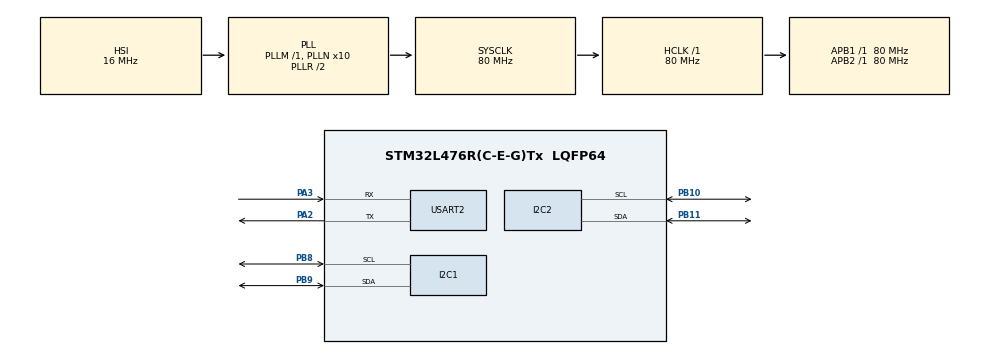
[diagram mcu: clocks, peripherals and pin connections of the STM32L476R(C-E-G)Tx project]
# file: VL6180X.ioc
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I2C1.Timing=0x10D19CE4
I2C2.Timing=0x10D19CE4
Mcu.Family=STM32L4
Mcu.Name=STM32L476R(C-E-G)Tx
Mcu.Package=LQFP64
NVIC.PriorityGroup=NVIC_PRIORITYGROUP_4
PA13\ (JTMS-SWDIO).Mode=Serial_Wire
PA13\ (JTMS-SWDIO).Signal=SYS_JTMS-SWDIO
PA14\ (JTCK-SWCLK).Mode=Serial_Wire
PA14\ (JTCK-SWCLK).Signal=SYS_JTCK-SWCLK
PA2.Mode=Asynchronous
PA2.Signal=USART2_TX
PA3.Mode=Asynchronous
PA3.Signal=USART2_RX
PB10.Mode=I2C
PB10.Signal=I2C2_SCL
PB11.Mode=I2C
PB11.Signal=I2C2_SDA
PB8.Mode=I2C
PB8.Signal=I2C1_SCL
PB9.Mode=I2C
PB9.Signal=I2C1_SDA
PH0-OSC_IN\ (PH0).Mode=HSE-External-Oscillator
PH0-OSC_IN\ (PH0).Signal=RCC_OSC_IN
PH1-OSC_OUT\ (PH1).Mode=HSE-External-Oscillator
PH1-OSC_OUT\ (PH1).Signal=RCC_OSC_OUT
ProjectManager.HeapSize=0x200
ProjectManager.StackSize=0x400
ProjectManager.TargetToolchain=STM32CubeIDE
RCC.ADCFreq_Value=64000000
RCC.AHBFreq_Value=80000000
RCC.APB1Freq_Value=80000000
RCC.APB1TimFreq_Value=80000000
RCC.APB2Freq_Value=80000000
RCC.APB2TimFreq_Value=80000000
RCC.CortexFreq_Value=80000000
RCC.HCLKFreq_Value=80000000
RCC.HSE_VALUE=8000000
RCC.HSI_VALUE=16000000
RCC.LSE_VALUE=32768
RCC.MSI_VALUE=4000000
RCC.PLLN=10
RCC.PLLSourceVirtual=RCC_PLLSOURCE_HSI
RCC.PREFETCH_ENABLE=1
RCC.SYSCLKFreq_VALUE=80000000
RCC.SYSCLKSource=RCC_SYSCLKSOURCE_PLLCLK
RCC.USBFreq_Value=64000000
RCC.VCOOutputFreq_Value=160000000
USART2.VirtualMode-Asynchronous=VM_ASYNC
board=NUCLEO-L476RG

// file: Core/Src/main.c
/* USER CODE BEGIN Header */
/**
  ******************************************************************************
  * @file           : main.c
  * @brief          : Main program body
  ******************************************************************************
  * @attention
  *
  * Copyright (c) 2025 STMicroelectronics.
  * All rights reserved.
  *
  * This software is licensed under terms that can be found in the LICENSE file
  * in the root directory of this software component.
  * If no LICENSE file comes with this software, it is provided AS-IS.
  *
  ******************************************************************************
  */
/* USER CODE END Header */
#include "main.h"

/* USER CODE BEGIN Includes */
#include "VL6180X.h"
#include <stdio.h>
#include <string.h>

/* USER CODE END Includes */

/* USER CODE BEGIN PTD */
char msg[50];
/* USER CODE END PTD */

I2C_HandleTypeDef hi2c1;
I2C_HandleTypeDef hi2c2;

UART_HandleTypeDef huart2;

void SystemClock_Config(void);
static void MX_GPIO_Init(void);
static void MX_USART2_UART_Init(void);
static void MX_I2C1_Init(void);
static void MX_I2C2_Init(void);

/* USER CODE BEGIN 0 */

int _write(int file, char *data, int len) {
    HAL_UART_Transmit(&huart2, (uint8_t *)data, len, HAL_MAX_DELAY);
    return len;
}

VL6180X_t sensor1 = {&hi2c1, 1.0, 100};
VL6180X_t sensor2 = {&hi2c2, 1.0, 100};

/* USER CODE END 0 */

int main(void)
{

  /* MCU Configuration--------------------------------------------------------*/

  /* Reset of all peripherals, Initializes the Flash interface and the Systick. */
  HAL_Init();

  /* Configure the system clock */
  SystemClock_Config();

  /* Initialize all configured peripherals */
  MX_GPIO_Init();
  MX_USART2_UART_Init();
  MX_I2C1_Init();
  MX_I2C2_Init();
  /* USER CODE BEGIN 2 */

  while(!(begin(&sensor1)))
  {
	  printf("Please check that the IIC device is properly connected!\n");
	  HAL_Delay(1000);
  }
  while(!(begin(&sensor2)))
    {
  	  printf("Please check that the IIC device is properly connected!\n");
  	  HAL_Delay(1000);
    }

  /* USER CODE END 2 */

  /* Infinite loop */
  /* USER CODE BEGIN WHILE */
  while (1)
  {
	  /*Poll measurement of ambient light data*/
	    float lux1 = alsPoLLMeasurement(&sensor1);
	    float lux2 = alsPoLLMeasurement(&sensor2);
//	    printf("lux: %.2f\n",lux);
	    HAL_Delay(300);

	   /*Poll measurement of distance*/
	   uint8_t range1 = rangePollMeasurement(&sensor1);
	   uint8_t range2 = rangePollMeasurement(&sensor2);

	   /*Get the judgment of the range value*/
	   uint8_t status1 = getRangeResult(&sensor1);
	   uint8_t status2 = getRangeResult(&sensor2);

	   char str1[100]; // Buffer for formatted string
	   sprintf(str1, "lux1 : %.2f	lux2 : %.2f		|		Range1: %d mm		Range2: %d mm",lux1, lux2, range1,range2);

	 switch(status1 | status2){
	 case VL6180X_NO_ERR:
		printf("%s\n", str1);
	   break;
	 case VL6180X_EARLY_CONV_ERR:
	   printf("RANGE ERR: ECE check failed !\n");
	   break;
	 case VL6180X_MAX_CONV_ERR:
		 printf("RANGE ERR: System did not converge before the specified max!\n");
	   break;
	 case VL6180X_IGNORE_ERR:
		 printf("RANGE ERR: Ignore threshold check failed !\n");
	   break;
	 case VL6180X_MAX_S_N_ERR:
		 printf("RANGE ERR: Measurement invalidated!\n");
	   break;
	 case VL6180X_RAW_Range_UNDERFLOW_ERR:
		 printf("RANGE ERR: RESULT_RANGE_RAW < 0!\n");
	   break;
	 case VL6180X_RAW_Range_OVERFLOW_ERR:
		 printf("RESULT_RANGE_RAW is out of range !\n");
	   break;
	 case VL6180X_Range_UNDERFLOW_ERR:
		 printf("RANGE ERR: RESULT__RANGE_VAL < 0 !\n");
	   break;
	 case VL6180X_Range_OVERFLOW_ERR:
		 printf("RANGE ERR: RESULT__RANGE_VAL is out of range !\n");
	   break;
	 default:
		 printf("RANGE ERR: Systerm err!\n");
	   break;
	 }

	 HAL_Delay(100);

//	  sprintf(msg, "Distance: %d mm\n", range);
//	  HAL_UART_Transmit(&huart2, (uint8_t*)msg, strlen(msg), HAL_MAX_DELAY);

    /* USER CODE END WHILE */

  }
}

void SystemClock_Config(void)
{
  RCC_OscInitTypeDef RCC_OscInitStruct = {0};
  RCC_ClkInitTypeDef RCC_ClkInitStruct = {0};

  /** Configure the main internal regulator output voltage
  */
  if (HAL_PWREx_ControlVoltageScaling(PWR_REGULATOR_VOLTAGE_SCALE1) != HAL_OK)
  {
    Error_Handler();
  }

  /** Initializes the RCC Oscillators according to the specified parameters
  * in the RCC_OscInitTypeDef structure.
  */
  RCC_OscInitStruct.OscillatorType = RCC_OSCILLATORTYPE_HSI;
  RCC_OscInitStruct.HSIState = RCC_HSI_ON;
  RCC_OscInitStruct.HSICalibrationValue = RCC_HSICALIBRATION_DEFAULT;
  RCC_OscInitStruct.PLL.PLLState = RCC_PLL_ON;
  RCC_OscInitStruct.PLL.PLLSource = RCC_PLLSOURCE_HSI;
  RCC_OscInitStruct.PLL.PLLM = 1;
  RCC_OscInitStruct.PLL.PLLN = 10;
  RCC_OscInitStruct.PLL.PLLP = RCC_PLLP_DIV7;
  RCC_OscInitStruct.PLL.PLLQ = RCC_PLLQ_DIV2;
  RCC_OscInitStruct.PLL.PLLR = RCC_PLLR_DIV2;
  if (HAL_RCC_OscConfig(&RCC_OscInitStruct) != HAL_OK)
  {
    Error_Handler();
  }

  /** Initializes the CPU, AHB and APB buses clocks
  */
  RCC_ClkInitStruct.ClockType = RCC_CLOCKTYPE_HCLK|RCC_CLOCKTYPE_SYSCLK
                              |RCC_CLOCKTYPE_PCLK1|RCC_CLOCKTYPE_PCLK2;
  RCC_ClkInitStruct.SYSCLKSource = RCC_SYSCLKSOURCE_PLLCLK;
  RCC_ClkInitStruct.AHBCLKDivider = RCC_SYSCLK_DIV1;
  RCC_ClkInitStruct.APB1CLKDivider = RCC_HCLK_DIV1;
  RCC_ClkInitStruct.APB2CLKDivider = RCC_HCLK_DIV1;

  if (HAL_RCC_ClockConfig(&RCC_ClkInitStruct, FLASH_LATENCY_4) != HAL_OK)
  {
    Error_Handler();
  }
}

static void MX_I2C1_Init(void)
{

  hi2c1.Instance = I2C1;
  hi2c1.Init.Timing = 0x10D19CE4;
  hi2c1.Init.OwnAddress1 = 0;
  hi2c1.Init.AddressingMode = I2C_ADDRESSINGMODE_7BIT;
  hi2c1.Init.DualAddressMode = I2C_DUALADDRESS_DISABLE;
  hi2c1.Init.OwnAddress2 = 0;
  hi2c1.Init.OwnAddress2Masks = I2C_OA2_NOMASK;
  hi2c1.Init.GeneralCallMode = I2C_GENERALCALL_DISABLE;
  hi2c1.Init.NoStretchMode = I2C_NOSTRETCH_DISABLE;
  if (HAL_I2C_Init(&hi2c1) != HAL_OK)
  {
    Error_Handler();
  }

  /** Configure Analogue filter
  */
  if (HAL_I2CEx_ConfigAnalogFilter(&hi2c1, I2C_ANALOGFILTER_ENABLE) != HAL_OK)
  {
    Error_Handler();
  }

  /** Configure Digital filter
  */
  if (HAL_I2CEx_ConfigDigitalFilter(&hi2c1, 0) != HAL_OK)
  {
    Error_Handler();
  }

}

static void MX_I2C2_Init(void)
{

  hi2c2.Instance = I2C2;
  hi2c2.Init.Timing = 0x10D19CE4;
  hi2c2.Init.OwnAddress1 = 0;
  hi2c2.Init.AddressingMode = I2C_ADDRESSINGMODE_7BIT;
  hi2c2.Init.DualAddressMode = I2C_DUALADDRESS_DISABLE;
  hi2c2.Init.OwnAddress2 = 0;
  hi2c2.Init.OwnAddress2Masks = I2C_OA2_NOMASK;
  hi2c2.Init.GeneralCallMode = I2C_GENERALCALL_DISABLE;
  hi2c2.Init.NoStretchMode = I2C_NOSTRETCH_DISABLE;
  if (HAL_I2C_Init(&hi2c2) != HAL_OK)
  {
    Error_Handler();
  }

  /** Configure Analogue filter
  */
  if (HAL_I2CEx_ConfigAnalogFilter(&hi2c2, I2C_ANALOGFILTER_ENABLE) != HAL_OK)
  {
    Error_Handler();
  }

  /** Configure Digital filter
  */
  if (HAL_I2CEx_ConfigDigitalFilter(&hi2c2, 0) != HAL_OK)
  {
    Error_Handler();
  }

}

static void MX_USART2_UART_Init(void)
{

  huart2.Instance = USART2;
  huart2.Init.BaudRate = 115200;
  huart2.Init.WordLength = UART_WORDLENGTH_8B;
  huart2.Init.StopBits = UART_STOPBITS_1;
  huart2.Init.Parity = UART_PARITY_NONE;
  huart2.Init.Mode = UART_MODE_TX_RX;
  huart2.Init.HwFlowCtl = UART_HWCONTROL_NONE;
  huart2.Init.OverSampling = UART_OVERSAMPLING_16;
  huart2.Init.OneBitSampling = UART_ONE_BIT_SAMPLE_DISABLE;
  huart2.AdvancedInit.AdvFeatureInit = UART_ADVFEATURE_NO_INIT;
  if (HAL_UART_Init(&huart2) != HAL_OK)
  {
    Error_Handler();
  }

}

static void MX_GPIO_Init(void)
{

  /* GPIO Ports Clock Enable */
  __HAL_RCC_GPIOH_CLK_ENABLE();
  __HAL_RCC_GPIOA_CLK_ENABLE();
  __HAL_RCC_GPIOB_CLK_ENABLE();

}

void Error_Handler(void)
{
  __disable_irq();
  while (1)
  {
  }
}
